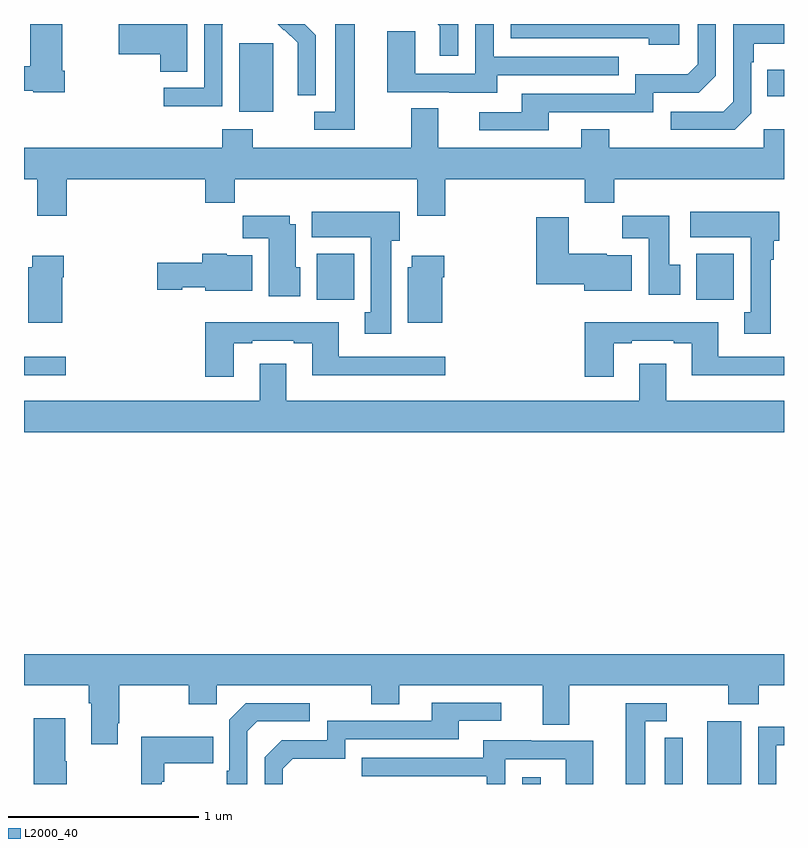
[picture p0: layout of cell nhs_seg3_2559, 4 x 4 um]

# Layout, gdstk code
import gdstk
lib = gdstk.Library(unit=1e-6, precision=1e-09)
def R(c, l, rs):  # rectangles x0, y0, x1, y1
    for r in rs: c.add(gdstk.rectangle(r[:2], r[2:], *l))
def P(c, l, *ps):  # polygons
    for p in ps: c.add(gdstk.Polygon(p, *l))
L2000_40 = (2000, 40)

nhs_seg3_2559 = lib.new_cell('nhs_seg3_2559')
R(nhs_seg3_2559, L2000_40, [(245.622,696.4,245.719,696.436), (246.596,696.4,246.775,696.73), (243,698.552,243.22,698.649), (244.541,698.948,244.738,699.19), (246.539,698.948,246.736,699.19), (244.133,699.938,244.312,700.299), (246.913,700.019,247,700.159)])
P(nhs_seg3_2559, L2000_40, [(245.286,700.4),(245.178,700.4),(245.189,700.389),(245.189,700.233),(245.286,700.233)],
  [(244.044,700.396),(244.047,700.396),(244.047,700.4),(243.948,700.4),(243.948,700.065),(243.735,700.065),(243.735,699.967),(244.044,699.967)],
  [(245.491,700.131),(246.131,700.131),(246.131,700.227),(245.472,700.227),(245.472,700.4),(245.376,700.4),(245.376,700.137),(245.058,700.137),(245.058,700.361),(244.913,700.361),(244.913,700.041),(245.237,700.041),(245.237,700.037),(245.491,700.037)],
  [(244.536,700.342),(244.478,700.4),(244.336,700.4),(244.368,700.368),(244.371,700.371),(244.442,700.301),(244.442,700.178),(244.44,700.178),(244.44,700.024),(244.536,700.024)],
  [(243.215,700.153),(243.202,700.153),(243.202,700.4),(243.032,700.4),(243.032,700.178),(243,700.178),(243,700.05),(243.048,700.05),(243.048,700.042),(243.215,700.042)],
  [(246.448,700.4),(245.562,700.4),(245.562,700.326),(246.287,700.326),(246.287,700.292),(246.448,700.292)],
  [(246.828,699.93),(246.828,700.199),(246.841,700.199),(246.841,700.295),(247,700.295),(247,700.4),(246.732,700.4),(246.732,699.99),(246.681,699.939),(246.405,699.939),(246.405,699.843),(246.741,699.843)],
  [(243.859,700.4),(243.498,700.4),(243.498,700.241),(243.716,700.241),(243.716,700.15),(243.859,700.15)],
  [(245.761,699.936),(246.312,699.936),(246.312,700.038),(246.552,700.038),(246.642,700.128),(246.642,700.4),(246.546,700.4),(246.546,700.188),(246.493,700.135),(246.216,700.135),(246.216,700.032),(245.621,700.032),(245.621,699.936),(245.397,699.936),(245.397,699.84),(245.761,699.84)],
  [(244.741,700.4),(244.637,700.4),(244.637,699.939),(244.527,699.939),(244.527,699.843),(244.741,699.843)],
  [(243.224,699.584),(243.953,699.584),(243.953,699.46),(244.109,699.46),(244.109,699.584),(245.069,699.584),(245.069,699.39),(245.217,699.39),(245.217,699.584),(245.951,699.584),(245.951,699.46),(246.107,699.46),(246.107,699.584),(247,699.584),(247,699.847),(246.894,699.847),(246.894,699.748),(246.081,699.748),(246.081,699.847),(245.933,699.847),(245.933,699.748),(245.179,699.748),(245.179,699.956),(245.039,699.956),(245.039,699.748),(244.203,699.748),(244.203,699.847),(244.043,699.847),(244.043,699.748),(243,699.748),(243,699.584),(243.071,699.584),(243.071,699.39),(243.224,699.39)],
  [(246.931,699.158),(246.946,699.158),(246.946,699.258),(246.976,699.258),(246.976,699.412),(246.507,699.412),(246.507,699.278),(246.824,699.278),(246.824,698.882),(246.791,698.882),(246.791,698.769),(246.931,698.769)],
  [(244.933,699.258),(244.978,699.258),(244.978,699.412),(244.514,699.412),(244.514,699.278),(244.826,699.278),(244.826,698.882),(244.793,698.882),(244.793,698.769),(244.933,698.769)],
  [(246.454,699.132),(246.397,699.132),(246.397,699.391),(246.148,699.391),(246.148,699.272),(246.287,699.272),(246.287,698.976),(246.454,698.976)],
  [(244.453,699.12),(244.429,699.12),(244.429,699.346),(244.399,699.346),(244.399,699.391),(244.15,699.391),(244.15,699.272),(244.289,699.272),(244.289,698.966),(244.453,698.966)],
  [(246.199,699.184),(246.066,699.184),(246.066,699.19),(245.866,699.19),(245.866,699.382),(245.696,699.382),(245.696,699.029),(245.948,699.029),(245.948,698.996),(246.199,698.996)],
  [(244.201,699.184),(244.068,699.184),(244.068,699.19),(243.938,699.19),(243.938,699.144),(243.702,699.144),(243.702,699.002),(243.834,699.002),(243.834,699.014),(243.954,699.014),(243.954,698.996),(244.201,698.996)],
  [(243.202,699.068),(243.21,699.068),(243.21,699.181),(243.044,699.181),(243.044,699.12),(243.023,699.12),(243.023,698.828),(243.202,698.828)],
  [(245.2,699.068),(245.213,699.068),(245.213,699.181),(245.042,699.181),(245.042,699.12),(245.021,699.12),(245.021,698.828),(245.2,698.828)],
  [(246.103,698.721),(246.199,698.721),(246.199,698.733),(246.419,698.733),(246.419,698.721),(246.515,698.721),(246.515,698.552),(247,698.552),(247,698.649),(246.655,698.649),(246.655,698.83),(245.951,698.83),(245.951,698.544),(246.103,698.544)],
  [(244.105,698.721),(244.201,698.721),(244.201,698.733),(244.421,698.733),(244.421,698.721),(244.517,698.721),(244.517,698.552),(245.218,698.552),(245.218,698.649),(244.657,698.649),(244.657,698.83),(243.953,698.83),(243.953,698.544),(244.105,698.544)],
  [(247,698.416),(246.379,698.416),(246.379,698.611),(246.239,698.611),(246.239,698.416),(244.381,698.416),(244.381,698.611),(244.241,698.611),(244.241,698.416),(243,698.416),(243,698.252),(247,698.252)],
  [(243.493,696.721),(243.501,696.721),(243.501,696.92),(243.868,696.92),(243.868,696.821),(244.014,696.821),(244.014,696.92),(244.828,696.92),(244.828,696.821),(244.975,696.821),(244.975,696.92),(245.729,696.92),(245.729,696.712),(245.869,696.712),(245.869,696.92),(246.706,696.92),(246.706,696.821),(246.866,696.821),(246.866,696.92),(247,696.92),(247,697.084),(243,697.084),(243,696.92),(243.341,696.92),(243.341,696.824),(243.353,696.824),(243.353,696.609),(243.493,696.609)],
  [(244.362,696.48),(244.415,696.533),(244.692,696.533),(244.692,696.636),(245.287,696.636),(245.287,696.732),(245.512,696.732),(245.512,696.828),(245.147,696.828),(245.147,696.732),(244.596,696.732),(244.596,696.63),(244.356,696.63),(244.266,696.54),(244.266,696.4),(244.362,696.4)],
  [(244.176,696.678),(244.227,696.729),(244.504,696.729),(244.504,696.825),(244.167,696.825),(244.08,696.738),(244.08,696.469),(244.068,696.469),(244.068,696.4),(244.176,696.4)],
  [(246.271,696.729),(246.382,696.729),(246.382,696.825),(246.167,696.825),(246.167,696.4),(246.271,696.4)],
  [(243.225,696.521),(243.217,696.521),(243.217,696.745),(243.05,696.745),(243.05,696.4),(243.225,696.4)],
  [(246.96,696.603),(247,696.603),(247,696.702),(246.864,696.702),(246.864,696.4),(246.96,696.4)],
  [(243.726,696.413),(243.739,696.413),(243.739,696.509),(243.995,696.509),(243.995,696.649),(243.618,696.649),(243.618,696.4),(243.726,696.4)],
  [(246.467,696.49),(246.468,696.49),(246.468,696.644),(246.372,696.644),(246.372,696.4),(246.467,696.4)],
  [(245.532,696.531),(245.85,696.531),(245.85,696.4),(245.995,696.4),(245.995,696.627),(245.671,696.627),(245.671,696.631),(245.417,696.631),(245.417,696.537),(244.777,696.537),(244.777,696.441),(245.436,696.441),(245.436,696.4),(245.532,696.4)])

lib.write_gds('nhs_seg3_2559.gds')
